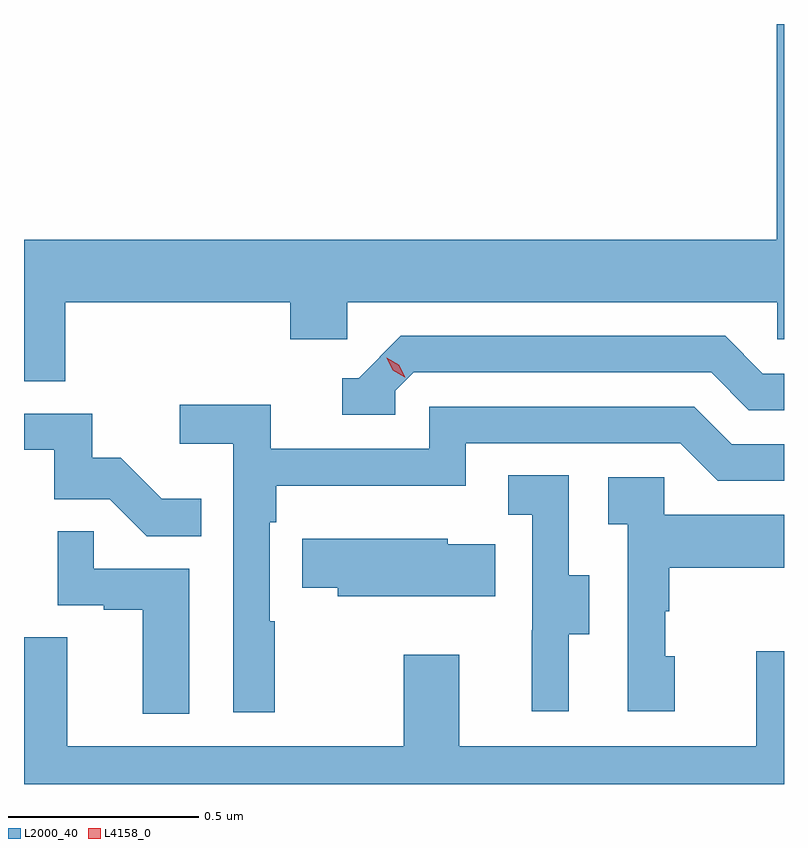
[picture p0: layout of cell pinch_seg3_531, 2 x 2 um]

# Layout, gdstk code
import gdstk
lib = gdstk.Library(unit=1e-6, precision=1e-09)
def P(c, l, *ps):  # polygons
    for p in ps: c.add(gdstk.Polygon(p, *l))
L2000_40 = (2000, 40)
L4158_0 = (4158, 0)

pinch_seg3_531 = lib.new_cell('pinch_seg3_531')
P(pinch_seg3_531, L2000_40, [(977.012,671.612),(977.603,671.612),(977.603,671.514),(977.754,671.514),(977.754,671.612),(978.885,671.612),(978.885,671.514),(978.903,671.514),(978.903,672.344),(978.884,672.344),(978.884,671.776),(976.903,671.776),(976.903,671.404),(977.012,671.404)],
  [(977.88,671.379),(977.928,671.427),(978.711,671.427),(978.81,671.328),(978.903,671.328),(978.903,671.424),(978.847,671.424),(978.748,671.523),(977.895,671.523),(977.784,671.412),(977.741,671.412),(977.741,671.316),(977.88,671.316)],
  [(977.563,670.772),(977.55,670.772),(977.55,671.033),(977.567,671.033),(977.567,671.129),(978.066,671.129),(978.066,671.241),(978.63,671.241),(978.729,671.142),(978.903,671.142),(978.903,671.238),(978.766,671.238),(978.667,671.337),(977.97,671.337),(977.97,671.226),(977.552,671.226),(977.552,671.342),(977.313,671.342),(977.313,671.24),(977.454,671.24),(977.454,670.533),(977.563,670.533)],
  [(977.369,671.095),(977.265,671.095),(977.158,671.202),(977.082,671.202),(977.082,671.319),(976.903,671.319),(976.903,671.223),(976.983,671.223),(976.983,671.094),(977.128,671.094),(977.226,670.996),(977.369,670.996)],
  [(978.337,670.738),(978.391,670.738),(978.391,670.893),(978.336,670.893),(978.336,671.156),(978.177,671.156),(978.177,671.053),(978.24,671.053),(978.24,670.749),(978.239,670.749),(978.239,670.536),(978.337,670.536)],
  [(978.616,670.68),(978.591,670.68),(978.591,670.799),(978.601,670.799),(978.601,670.913),(978.903,670.913),(978.903,671.053),(978.588,671.053),(978.588,671.151),(978.441,671.151),(978.441,671.027),(978.492,671.027),(978.492,670.536),(978.616,670.536)],
  [(977.338,670.911),(977.087,670.911),(977.087,671.009),(976.992,671.009),(976.992,670.815),(977.113,670.815),(977.113,670.803),(977.216,670.803),(977.216,670.529),(977.338,670.529)],
  [(978.143,670.975),(978.018,670.975),(978.018,670.99),(977.746,670.99),(977.746,670.989),(977.635,670.989),(977.635,670.861),(977.729,670.861),(977.729,670.838),(978.143,670.838)],
  [(978.903,670.693),(978.83,670.693),(978.83,670.444),(978.049,670.444),(978.049,670.684),(977.902,670.684),(977.902,670.444),(977.017,670.444),(977.017,670.73),(976.903,670.73),(976.903,670.344),(978.903,670.344)])
P(pinch_seg3_531, L4158_0, [(977.905,671.414),(977.874,671.433),(977.858,671.466),(977.858,671.466),(977.858,671.466),(977.889,671.447),(977.906,671.414),(977.906,671.414)])

lib.write_gds('pinch_seg3_531.gds')
